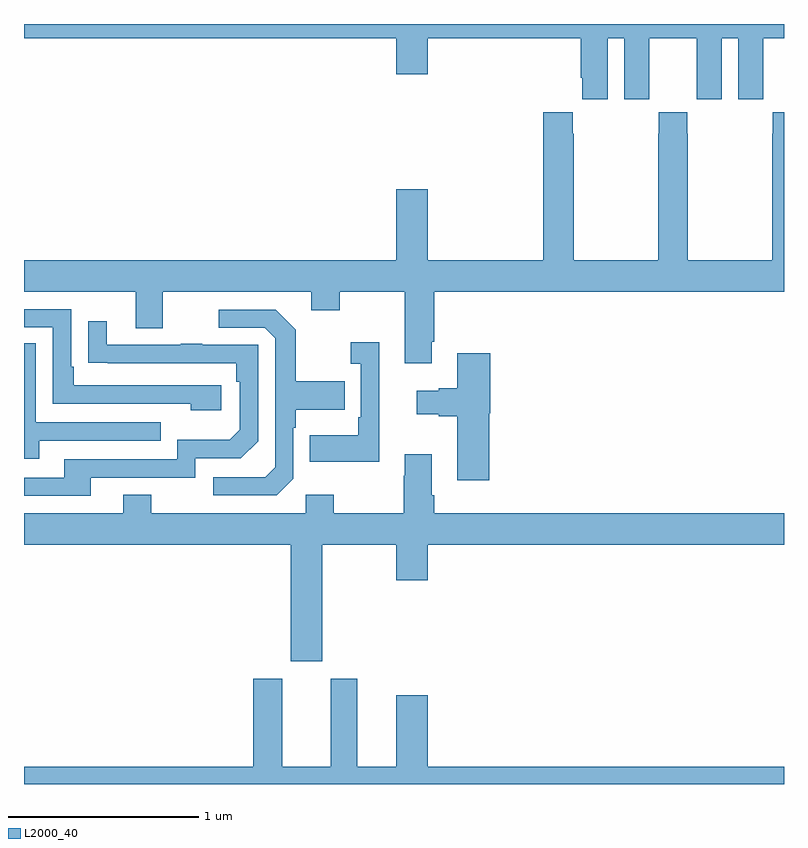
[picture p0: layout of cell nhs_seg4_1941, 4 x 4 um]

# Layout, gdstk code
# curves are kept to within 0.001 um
import gdstk
lib = gdstk.Library(unit=1e-6, precision=1e-09)
def P(c, l, *ps):  # polygons
    for p in ps: c.add(gdstk.Polygon(p, *l))
L2000_40 = (2000, 40)

nhs_seg4_1941 = lib.new_cell('nhs_seg4_1941')
P(nhs_seg4_1941, L2000_40, [(211,792.824),(212.96,792.824),(212.96,792.636),(213.124,792.636),(213.124,792.824),(213.929,792.824),(213.929,792.616),(213.938,792.616),(213.938,792.504),(214.072,792.504),(214.072,792.824),(214.16,792.824),(214.16,792.504),(214.29,792.504),(214.29,792.616),(214.291,792.616),(214.291,792.824),(214.541,792.824),(214.541,792.616),(214.542,792.616),(214.542,792.504),(214.672,792.504),(214.672,792.824),(214.76,792.824),(214.76,792.504),(214.89,792.504),(214.89,792.616),(214.891,792.616),(214.891,792.824),(215,792.824),(215,792.9),(211,792.9)],
  [(213.145,791.227),(213.158,791.227),(213.158,791.492),(215,791.492),(215,792.436),(214.941,792.436),(214.941,792.323),(214.939,792.323),(214.939,791.656),(214.494,791.656),(214.494,792.323),(214.491,792.323),(214.491,792.436),(214.341,792.436),(214.341,792.323),(214.339,792.323),(214.339,791.656),(213.894,791.656),(213.894,792.323),(213.887,792.323),(213.887,792.436),(213.734,792.436),(213.734,791.656),(213.124,791.656),(213.124,792.031),(212.96,792.031),(212.96,791.656),(211,791.656),(211,791.492),(211.589,791.492),(211.589,791.298),(211.729,791.298),(211.729,791.492),(212.513,791.492),(212.513,791.393),(212.661,791.393),(212.661,791.492),(213.005,791.492),(213.005,791.115),(213.145,791.115)],
  [(212.038,790.998),(211.261,790.998),(211.261,791.095),(211.248,791.095),(211.248,791.4),(211,791.4),(211,791.304),(211.152,791.304),(211.152,790.902),(211.877,790.902),(211.877,790.868),(212.038,790.868)],
  [(212.418,790.506),(212.418,790.775),(212.431,790.775),(212.431,790.871),(212.687,790.871),(212.687,791.019),(212.431,791.019),(212.431,791.291),(212.325,791.397),(212.025,791.397),(212.025,791.301),(212.268,791.301),(212.322,791.247),(212.322,790.566),(212.271,790.515),(211.995,790.515),(211.995,790.419),(212.331,790.419)],
  [(211.351,790.512),(211.902,790.512),(211.902,790.614),(212.142,790.614),(212.232,790.704),(212.232,791.211),(211.937,791.211),(211.937,791.216),(211.825,791.216),(211.825,791.211),(211.435,791.211),(211.435,791.335),(211.339,791.335),(211.339,791.116),(212.116,791.115),(212.116,791.018),(212.136,791.018),(212.136,790.764),(212.083,790.711),(211.806,790.711),(211.806,790.608),(211.211,790.608),(211.211,790.512),(211,790.512),(211,790.416),(211.351,790.416)],
  [(212.87,791.224),(212.721,791.224),(212.721,791.111),(212.772,791.111),(212.772,790.831),(212.76,790.831),(212.76,790.735),(212.503,790.735),(212.503,790.595),(212.87,790.595)],
  [(211.081,790.707),(211.721,790.707),(211.721,790.803),(211.062,790.803),(211.062,791.219),(211,791.219),(211,790.613),(211.081,790.613)],
  [(213.449,790.851),(213.454,790.851),(213.454,791.167),(213.281,791.167),(213.281,790.982),(213.182,790.982),(213.182,790.969),(213.066,790.969),(213.066,790.847),(213.182,790.847),(213.182,790.835),(213.281,790.835),(213.281,790.5),(213.449,790.5)],
  [(212.569,790.16),(212.96,790.16),(212.96,789.972),(213.124,789.972),(213.124,790.16),(215,790.16),(215,790.324),(213.158,790.324),(213.158,790.42),(213.145,790.42),(213.145,790.636),(213.005,790.636),(213.005,790.523),(212.998,790.523),(212.998,790.324),(212.631,790.324),(212.631,790.423),(212.484,790.423),(212.484,790.324),(211.671,790.324),(211.671,790.423),(211.523,790.423),(211.523,790.324),(211,790.324),(211,790.16),(212.405,790.16),(212.405,789.546),(212.569,789.546)],
  [(212.615,789.454),(212.615,788.992),(212.359,788.992),(212.359,789.454),(212.207,789.454),(212.207,788.992),(211,788.992),(211,788.9),(215,788.9),(215,788.992),(213.124,788.992),(213.124,789.367),(212.96,789.367),(212.96,788.992),(212.755,788.992),(212.755,789.454)])

lib.write_gds('nhs_seg4_1941.gds')
